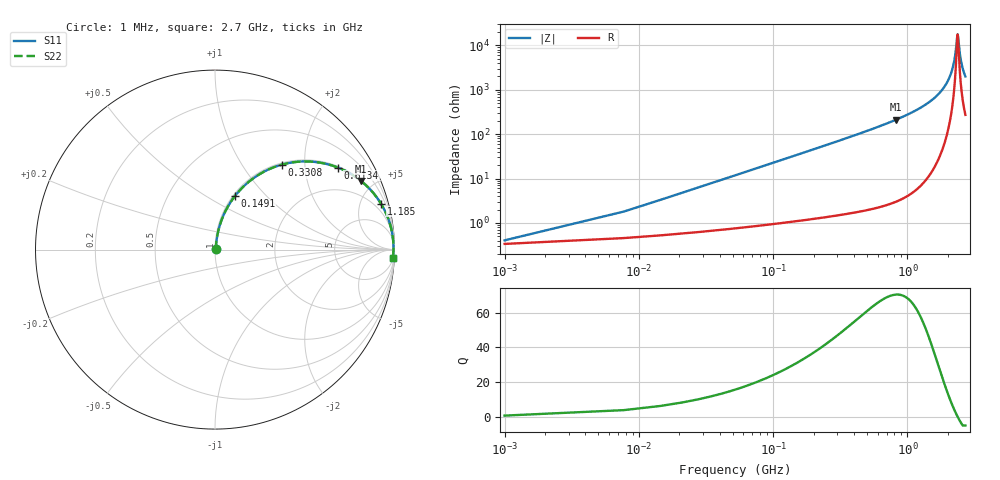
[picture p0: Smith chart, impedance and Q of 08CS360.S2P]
! Coilcraft 0805CS-360 Chip Inductor
! 11 June 2002
# MHZ S MA R 50
!Freq  MagS11  AngS11  MagS21  AngS21  MagS12  AngS12  MagS22  AngS22
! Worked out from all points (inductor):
!   403 points, 1 MHz to 2.7 GHz, reference 50 ohm
!   read as one part in series: L = 36 nH near 14.46 MHz
!   highest Q = 70.4 at 822.1 MHz (marker M1), where L = 41 nH
!   self-resonance near 2.363 GHz
!   S11 on the Smith chart (normalised r, x): 1 MHz: 1.01, +0.00; 149.1 MHz: 1.02, +0.68; 330.8 MHz: 1.03, +1.53; 613.4 MHz: 1.04, +2.98; 1.185 GHz: 1.12, +7.17; 2.7 GHz: 6, -39
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1  0.004046 33.7  0.9966 -0.1  0.9966 -0.1  0.004046 33.7
21.19  0.04795 80.4  0.9931 -2.7  0.9931 -2.7  0.04795 80.4
41.38  0.09284 80.4  0.9888 -5.3  0.9888 -5.3  0.09284 80.4
81.76  0.1807 76.9  0.975 -10.4  0.975 -10.4  0.1807 76.9
149.06  0.3177 69.6  0.938 -18.5  0.938 -18.5  0.3177 69.6
229.82  0.4601 61.2  0.8765 -27.4  0.8765 -27.4  0.4601 61.2
330.77  0.6009 51.9  0.7873 -36.9  0.7873 -36.9  0.6009 51.9
451.91  0.7216 42.8  0.68 -46.2  0.68 -46.2  0.7216 42.8
613.43  0.8242 33.6  0.5539 -55.5  0.5539 -55.5  0.8242 33.6
822.06  0.8992 25.1  0.425 -64.0  0.425 -64.0  0.8992 25.1
902.82  0.9179 22.6  0.3839 -66.6  0.3839 -66.6  0.9179 22.6
1185.48  0.9591 15.5  0.2677 -73.5  0.2677 -73.5  0.9591 15.5
1353.73  0.9728 12.3  0.2135 -76.6  0.2135 -76.6  0.9728 12.3
1804.64  0.9905 5.8  0.1013 -81.7  0.1013 -81.7  0.9905 5.8
2087.3  0.994 2.7  0.0466 -81.3  0.0466 -81.3  0.994 2.7
2181.52  0.9944 1.7  0.0303 -78.5  0.0303 -78.5  0.9944 1.7
2255.55  0.9945 1.0  0.01823 -72.0  0.01823 -72.0  0.9945 1.0
2343.04  0.9944 0.2  0.006482 -30.1  0.006482 -30.1  0.9944 0.2
2369.96  0.9943 -0.1  0.005761 9.7  0.005761 9.7  0.9943 -0.1
2450.72  0.994 -0.8  0.01468 65.4  0.01468 65.4  0.994 -0.8
2504.56  0.9937 -1.2  0.02235 72.9  0.02235 72.9  0.9937 -1.2
2700  0.992 -2.8  0.04992 79.3  0.04992 79.3  0.992 -2.8
